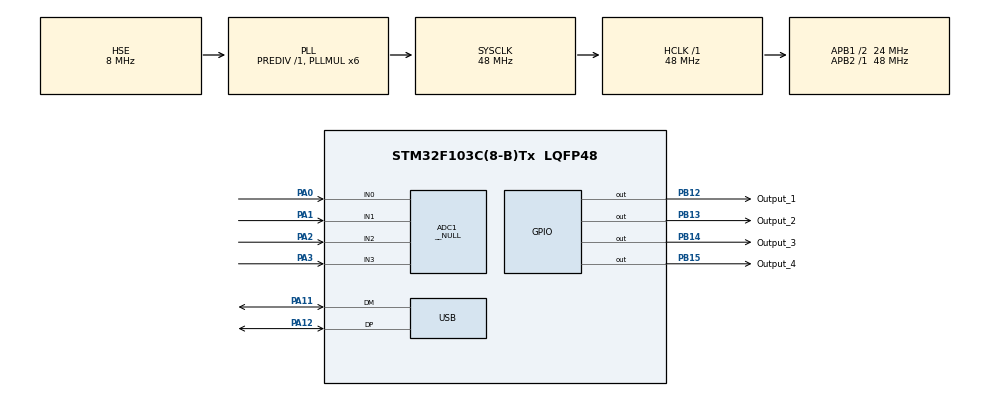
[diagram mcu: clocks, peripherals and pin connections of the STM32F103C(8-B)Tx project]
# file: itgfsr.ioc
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ADC1.Channel-1\#ChannelRegularConversion=ADC_CHANNEL_0
ADC1.Channel-2\#ChannelRegularConversion=ADC_CHANNEL_1
ADC1.Channel-3\#ChannelRegularConversion=ADC_CHANNEL_2
ADC1.Channel-4\#ChannelRegularConversion=ADC_CHANNEL_3
ADC1.DataAlign=ADC_DATAALIGN_RIGHT
ADC1.Mode=__NULL
ADC1.NbrOfConversion=4
ADC1.NbrOfConversionFlag=1
ADC1.Rank-1\#ChannelRegularConversion=1
ADC1.Rank-2\#ChannelRegularConversion=2
ADC1.Rank-3\#ChannelRegularConversion=3
ADC1.Rank-4\#ChannelRegularConversion=4
ADC1.SamplingTime-1\#ChannelRegularConversion=ADC_SAMPLETIME_71CYCLES_5
ADC1.SamplingTime-2\#ChannelRegularConversion=ADC_SAMPLETIME_71CYCLES_5
ADC1.SamplingTime-3\#ChannelRegularConversion=ADC_SAMPLETIME_71CYCLES_5
ADC1.SamplingTime-4\#ChannelRegularConversion=ADC_SAMPLETIME_71CYCLES_5
ADC1.master=1
Dma.ADC1.0.Direction=DMA_PERIPH_TO_MEMORY
Dma.ADC1.0.Instance=DMA1_Channel1
Dma.ADC1.0.MemDataAlignment=DMA_MDATAALIGN_HALFWORD
Dma.ADC1.0.MemInc=DMA_MINC_ENABLE
Dma.ADC1.0.Mode=DMA_NORMAL
Dma.ADC1.0.PeriphDataAlignment=DMA_PDATAALIGN_HALFWORD
Dma.ADC1.0.PeriphInc=DMA_PINC_DISABLE
Dma.ADC1.0.Priority=DMA_PRIORITY_LOW
Dma.Request0=ADC1
Mcu.Family=STM32F1
Mcu.Name=STM32F103C(8-B)Tx
Mcu.Package=LQFP48
NVIC.ADC1_2_IRQn=true\:0\:0\:false\:false\:true\:true\:true\:true
NVIC.DMA1_Channel1_IRQn=true\:0\:0\:false\:false\:true\:false\:true\:true
NVIC.PriorityGroup=NVIC_PRIORITYGROUP_4
NVIC.TIM2_IRQn=true\:0\:0\:false\:false\:true\:true\:true\:true
NVIC.USB_HP_CAN1_TX_IRQn=true\:0\:0\:false\:false\:true\:true\:true\:true
NVIC.USB_LP_CAN1_RX0_IRQn=true\:0\:0\:false\:false\:true\:true\:true\:true
PA0-WKUP.Signal=ADCx_IN0
PA1.Signal=ADCx_IN1
PA11.Mode=Device
PA11.Signal=USB_DM
PA12.Mode=Device
PA12.Signal=USB_DP
PA2.Signal=ADCx_IN2
PA3.Signal=ADCx_IN3
PB12.GPIO_Label=Output_1
PB12.GPIO_PuPd=GPIO_NOPULL
PB12.Signal=GPIO_Output
PB13.GPIO_Label=Output_2
PB13.GPIO_PuPd=GPIO_NOPULL
PB13.Signal=GPIO_Output
PB14.GPIO_Label=Output_3
PB14.GPIO_PuPd=GPIO_NOPULL
PB14.Signal=GPIO_Output
PB15.GPIO_Label=Output_4
PB15.GPIO_PuPd=GPIO_NOPULL
PB15.Signal=GPIO_Output
PD0-OSC_IN.Mode=HSE-External-Oscillator
PD0-OSC_IN.Signal=RCC_OSC_IN
PD1-OSC_OUT.Mode=HSE-External-Oscillator
PD1-OSC_OUT.Signal=RCC_OSC_OUT
ProjectManager.HeapSize=0x100
ProjectManager.StackSize=0x400
ProjectManager.TargetToolchain=STM32CubeIDE
RCC.ADCPresc=RCC_ADCPCLK2_DIV4
RCC.AHBFreq_Value=48000000
RCC.APB1CLKDivider=RCC_HCLK_DIV2
RCC.APB1Freq_Value=24000000
RCC.APB1TimFreq_Value=48000000
RCC.APB2Freq_Value=48000000
RCC.APB2TimFreq_Value=48000000
RCC.HCLKFreq_Value=48000000
RCC.PLLMUL=RCC_PLL_MUL6
RCC.SYSCLKFreq_VALUE=48000000
RCC.SYSCLKSource=RCC_SYSCLKSOURCE_PLLCLK
RCC.USBFreq_Value=48000000
SH.ADCx_IN0.0=ADC1_IN0,IN0
SH.ADCx_IN1.0=ADC1_IN1,IN1
SH.ADCx_IN2.0=ADC1_IN2,IN2
SH.ADCx_IN3.0=ADC1_IN3,IN3
TIM2.Period=100-1
TIM2.Prescaler=800-1
VP_SYS_VS_ND.Mode=No_Debug
VP_TIM2_VS_ClockSourceINT.Mode=Internal
board=custom

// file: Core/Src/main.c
/* USER CODE BEGIN Header */
/**
 ******************************************************************************
 * @file           : main.c
 * @brief          : Main program body
 ******************************************************************************
 * @attention
 *
 * Copyright (c) 2022 STMicroelectronics.
 * All rights reserved.
 *
 * This software is licensed under terms that can be found in the LICENSE file
 * in the root directory of this software component.
 * If no LICENSE file comes with this software, it is provided AS-IS.
 *
 ******************************************************************************
 */
/* USER CODE END Header */
#include "main.h"
#include "adc.h"
#include "dma.h"
#include "tim.h"
#include "usb.h"
#include "gpio.h"

/* USER CODE BEGIN Includes */
#include <string.h>
#include <stdio.h>
// #include "usbd_def.h"
#include "usb_device.h"
#include "usbd_hid_keyboard.h"
#include "usbd_cdc_acm_if.h"
#include "usb_hid_keys.h"
// #include "usbd_composite.h"
#include <eeprom.h>
/* USER CODE END Includes */

/* USER CODE BEGIN PV */
#define DEBUG_SENSORS 0
#define RELEASE_DEBOUNCE_PERCENTAGE 96

uint16_t VirtAddVarTab[NB_OF_VAR];
uint16_t VarIndex, VarDataTmp = 0;

extern USBD_HandleTypeDef hUsbDevice;

uint8_t volatile keyBoardHIDsub[11] = {0x00, 0x00, 0x00, 0x00, 0x00, 0x00, 0x00, 0x00, 0x00, 0x00, 0x00};

uint16_t adc_results_1[4] = {0, 0, 0, 0};
uint16_t adc_results_2[4] = {0, 0, 0, 0};
uint16_t adc_results_3[4] = {0, 0, 0, 0};
uint16_t adc_results_4[4] = {0, 0, 0, 0};

uint16_t adc_results_1_buf1[4] = {0, 0, 0, 0};
uint16_t adc_results_2_buf1[4] = {0, 0, 0, 0};
uint16_t adc_results_3_buf1[4] = {0, 0, 0, 0};
uint16_t adc_results_4_buf1[4] = {0, 0, 0, 0};

uint16_t adc_results_1_buf2[4] = {0, 0, 0, 0};
uint16_t adc_results_2_buf2[4] = {0, 0, 0, 0};
uint16_t adc_results_3_buf2[4] = {0, 0, 0, 0};
uint16_t adc_results_4_buf2[4] = {0, 0, 0, 0};

uint16_t adc_results_1_buf3[4] = {0, 0, 0, 0};
uint16_t adc_results_2_buf3[4] = {0, 0, 0, 0};
uint16_t adc_results_3_buf3[4] = {0, 0, 0, 0};
uint16_t adc_results_4_buf3[4] = {0, 0, 0, 0};

uint8_t volatile ground_id = 1;

uint16_t sensor_treshholds[16] = {
	750, 750, 750, 750,
	750, 750, 750, 750,
	750, 750, 750, 750,
	750, 750, 750, 750};

uint16_t sensor_release_treshholds[16] = {
	250, 250, 250, 250,
	250, 250, 250, 250,
	250, 250, 250, 250,
	250, 250, 250, 250};

uint16_t sensor_offsets[16] = {
	4000, 4000, 4000, 4000,
	4000, 4000, 4000, 4000,
	4000, 4000, 4000, 4000,
	4000, 4000, 4000, 4000};

// uint8_t sensors_binding[40]={
//		0,0,0,0,1,1,1,1,2,2,
//		2,2,3,3,3,3,4,4,4,4,
//		5,5,5,5,6,6,6,6,7,7,
//		7,7,8,8,8,8,3,3,5,5
// };

// P1

// uint8_t key_map[9] = {
//	KEY_Q, KEY_W, KEY_E,
//	KEY_A, KEY_S, KEY_D,
//	KEY_Z, KEY_X, KEY_C};
//
// uint8_t sensors_binding[40] = {
//	5,5, 7, 4, 8, 1, 2, 6, 0, 3,
//	5,5, 7, 4, 8, 1, 2, 6, 0, 3,
//	3,5, 7, 4, 8, 1, 2, 6, 0, 3,
//	3,5, 7, 4, 8, 1, 2, 6, 0, 3};

// P2

// Actually used are:
// 1, 3, 5, 7

uint8_t key_map[9] = {
	KEY_R, KEY_T, KEY_Y,
	KEY_F, KEY_G, KEY_H,
	KEY_V, KEY_B, KEY_N};

uint8_t sensors_binding[16] = {
	3, 7, 5, 1,
	3, 7, 5, 1,
	3, 7, 5, 1,
	3, 7, 5, 1};

uint16_t raw;
char msg[10];
char msg2[255];
uint16_t s;
char *token;
uint16_t num1, num2, sensor_id;

uint8_t rx_buff[255];
uint8_t volatile rx_buff_flag = 0;
uint16_t volatile debug_var = 0;

uint8_t key_states[9] = {0, 0, 0, 0, 0, 0, 0, 0, 0};
uint8_t last_key_states[9] = {0, 0, 0, 0, 0, 0, 0, 0, 0};

static GPIO_InitTypeDef Output_1_in;
static GPIO_InitTypeDef Output_1_out;
static GPIO_InitTypeDef Output_2_in;
static GPIO_InitTypeDef Output_2_out;
static GPIO_InitTypeDef Output_3_in;
static GPIO_InitTypeDef Output_3_out;
static GPIO_InitTypeDef Output_4_in;
static GPIO_InitTypeDef Output_4_out;

/* USER CODE END PV */

void SystemClock_Config(void);

/* USER CODE BEGIN 0 */
void HAL_ADC_ConvCpltCallback(ADC_HandleTypeDef *hadc)
{
	// CDC_Transmit(0, HAL_GetTick() , sizeof(uint32_t));
	//	char msg[32];
	//	uint32_t tick = HAL_GetTick();
	//	int len = sprintf(msg, "%lu\r\n", tick); // Use %lu for uint32_t
	//
	//	CDC_Transmit(0, (uint8_t *)msg, len);

	//	ground_id=69;
	//	debug_var++;
	HAL_ADC_Stop_DMA(&hadc1);
	switch (ground_id)
	{
	case 1:
		HAL_GPIO_Init(Output_1_GPIO_Port, &Output_1_in);
		HAL_GPIO_Init(Output_2_GPIO_Port, &Output_2_out);
		ground_id = 2;
		for (int i = 0; i < 4; ++i)
		{
			adc_results_1_buf3[i] = adc_results_1_buf2[i];
			adc_results_1_buf2[i] = adc_results_1_buf1[i];
			adc_results_1_buf1[i] = adc_results_1[i];
		}
		HAL_ADC_Start_DMA(&hadc1, (uint32_t *)&adc_results_2, 4);
		break;
	case 2:
		HAL_GPIO_Init(Output_2_GPIO_Port, &Output_2_in);
		HAL_GPIO_Init(Output_3_GPIO_Port, &Output_3_out);
		ground_id = 3;
		for (int i = 0; i < 4; ++i)
		{
			adc_results_2_buf3[i] = adc_results_2_buf2[i];
			adc_results_2_buf2[i] = adc_results_2_buf1[i];
			adc_results_2_buf1[i] = adc_results_2[i];
		}
		HAL_ADC_Start_DMA(&hadc1, (uint32_t *)&adc_results_3, 4);
		break;
	case 3:
		HAL_GPIO_Init(Output_3_GPIO_Port, &Output_3_in);
		HAL_GPIO_Init(Output_4_GPIO_Port, &Output_4_out);
		ground_id = 4;
		for (int i = 0; i < 4; ++i)
		{
			adc_results_3_buf3[i] = adc_results_3_buf2[i];
			adc_results_3_buf2[i] = adc_results_3_buf1[i];
			adc_results_3_buf1[i] = adc_results_3[i];
		}
		HAL_ADC_Start_DMA(&hadc1, (uint32_t *)&adc_results_4, 4);
		break;
	case 4:
		HAL_GPIO_Init(Output_4_GPIO_Port, &Output_4_in);
		HAL_GPIO_Init(Output_1_GPIO_Port, &Output_1_out);
		ground_id = 1;
		for (int i = 0; i < 4; ++i)
		{
			adc_results_4_buf3[i] = adc_results_4_buf2[i];
			adc_results_4_buf2[i] = adc_results_4_buf1[i];
			adc_results_4_buf1[i] = adc_results_4[i];
		}
		HAL_ADC_Start_DMA(&hadc1, (uint32_t *)&adc_results_1, 4);
		break;
	}
}

uint16_t get_sensor_avg(uint8_t group, uint8_t i)
{
	switch (group)
	{
	case 0:
		return (adc_results_1_buf1[i] + adc_results_1_buf2[i] + adc_results_1_buf3[i]) / 3;
	case 1:
		return (adc_results_2_buf1[i] + adc_results_2_buf2[i] + adc_results_2_buf3[i]) / 3;
	case 2:
		return (adc_results_3_buf1[i] + adc_results_3_buf2[i] + adc_results_3_buf3[i]) / 3;
	case 3:
		return (adc_results_4_buf1[i] + adc_results_4_buf2[i] + adc_results_4_buf3[i]) / 3;
	default:
		return 0;
	}
}

uint16_t map_sensor_value(uint16_t offset, uint16_t avg)
{
	if (avg >= offset)
	{
		return 0;
	}
	else
	{
		uint16_t diff = offset - avg;
		// Use uint32_t to prevent overflow in multiplication
		return (uint16_t)(((uint32_t)diff * 1024) / offset);
	}
}

void HAL_TIM_PeriodElapsedCallback(TIM_HandleTypeDef *htim)
{
	//	if(DEBUG_SENSORS==1){
	//		s = 0;
	//		s = sprintf(msg2, " ");
	//
	//		for (int i = 0; i < 10; ++i)
	//		{
	//			for (int j = 0; j < 4; ++j)
	//			{
	//				switch (j)
	//				{
	//				case 0:
	//					s += sprintf(msg2 + s, " %d",  adc_results_1[i]);
	//					break;
	//				case 1:
	//					s += sprintf(msg2 + s, " %d", adc_results_2[i]);
	//					break;
	//				case 2:
	//					s += sprintf(msg2 + s, " %d", adc_results_3[i]);
	//					break;
	//				case 3:
	//					s += sprintf(msg2 + s, " %d", adc_results_4[i]);
	//					break;
	//				}
	//			}
	//			s += sprintf(msg2 + s, "\n");
	//		}
	//
	//		s += sprintf(msg2 + s, "\n");
	//
	//		CDC_Transmit(0, msg2, s);
	//	}
	if (htim->Instance == TIM2)
	{
		for (int i = 0; i < 9; i++)
		{
			last_key_states[i] = key_states[i];
			key_states[i] = 0;
		}

		for (int i = 0; i < 4; ++i)
		{
			for (int j = 0; j < 4; ++j)
			{
				uint16_t offset = sensor_offsets[i + j * 4];
				uint16_t avg = get_sensor_avg(j, i);
				uint16_t current_value = map_sensor_value(offset, avg);
				if (sensor_treshholds[i + j * 4] < current_value)
				{
					key_states[sensors_binding[i + j * 4]] = 1;
				}
				else if (last_key_states[sensors_binding[i + j * 4]] == 1 && sensor_release_treshholds[i + j * 4] < current_value)
				{
					key_states[sensors_binding[i + j * 4]] = 1;
				}
			}
		}

		//		for (int i = 0; i < 40; ++i)
		//		{
		//			key_states[sensors_binding[i]] = 0;
		//			switch (i % 4)
		//			{
		//			case 0:
		//				if (sensor_treshholds[i] > ((sensor_offsets[i] * 1024) / adc_results_1[i % 4]) - 1024)
		//				{
		//					key_states[sensors_binding[i]] = 1;
		//				}
		//				break;
		//			case 1:
		//				if (sensor_treshholds[i] > ((sensor_offsets[i] * 1024) / adc_results_2[i % 4]) - 1024)
		//				{
		//					key_states[sensors_binding[i]] = 1;
		//				}
		//				break;
		//			case 2:
		//				if (sensor_treshholds[i] > ((sensor_offsets[i] * 1024) / adc_results_3[i % 4]) - 1024)
		//				{
		//					key_states[sensors_binding[i]] = 1;
		//				}
		//				break;
		//			case 3:
		//				if (sensor_treshholds[i] > ((sensor_offsets[i] * 1024) / adc_results_4[i % 4]) - 1024)
		//				{
		//					key_states[sensors_binding[i]] = 1;
		//				}
		//				break;
		//			}
		//		}

		for (int i = 0; i < 9; ++i)
		{
			if (key_states[i] == 1)
			{
				keyBoardHIDsub[i + 2] = key_map[i];
			}
			else
			{
				keyBoardHIDsub[i + 2] = 0x00;
			}
		}
		//		keyBoardHIDsub[3] = key_map[2];
		//		s = 0;
		//		s = sprintf(msg2, "t");
		//
		//		for (int i = 0; i < 9; ++i)
		//		{
		//
		//				s += sprintf(msg2 + s, " %d", key_states[i]);
		//
		//		}
		//		s += sprintf(msg2 + s, "\n");
		//
		//		CDC_Transmit(0, msg2, s);

		USBD_HID_Keybaord_SendReport(&hUsbDevice, (uint8_t *)&keyBoardHIDsub, sizeof(keyBoardHIDsub));
	}
}
/* USER CODE END 0 */

int main(void)
{
	/* USER CODE BEGIN 1 */

	//	int volatile jajco = 1;
	/* USER CODE END 1 */

	/* MCU Configuration--------------------------------------------------------*/

	/* Reset of all peripherals, Initializes the Flash interface and the Systick. */
	HAL_Init();

	/* Configure the system clock */
	SystemClock_Config();

	/* Initialize all configured peripherals */
	MX_GPIO_Init();
	MX_DMA_Init();
	MX_ADC1_Init();
	MX_USB_PCD_Init();
	MX_TIM2_Init();
	/* USER CODE BEGIN 2 */

	Output_1_in.Pin = Output_1_Pin;
	Output_1_in.Mode = GPIO_MODE_INPUT;
	Output_1_in.Pull = GPIO_NOPULL;
	Output_1_in.Speed = GPIO_SPEED_FREQ_LOW;
	Output_1_out.Pin = Output_1_Pin;
	Output_1_out.Mode = GPIO_MODE_OUTPUT_PP;
	Output_1_out.Pull = GPIO_NOPULL;
	Output_1_out.Speed = GPIO_SPEED_FREQ_LOW;
	Output_2_in.Pin = Output_2_Pin;
	Output_2_in.Mode = GPIO_MODE_INPUT;
	Output_2_in.Pull = GPIO_NOPULL;
	Output_2_in.Speed = GPIO_SPEED_FREQ_LOW;
	Output_2_out.Pin = Output_2_Pin;
	Output_2_out.Mode = GPIO_MODE_OUTPUT_PP;
	Output_2_out.Pull = GPIO_NOPULL;
	Output_2_out.Speed = GPIO_SPEED_FREQ_LOW;
	Output_3_in.Pin = Output_3_Pin;
	Output_3_in.Mode = GPIO_MODE_INPUT;
	Output_3_in.Pull = GPIO_NOPULL;
	Output_3_in.Speed = GPIO_SPEED_FREQ_LOW;
	Output_3_out.Pin = Output_3_Pin;
	Output_3_out.Mode = GPIO_MODE_OUTPUT_PP;
	Output_3_out.Pull = GPIO_NOPULL;
	Output_3_out.Speed = GPIO_SPEED_FREQ_LOW;
	Output_4_in.Pin = Output_4_Pin;
	Output_4_in.Mode = GPIO_MODE_INPUT;
	Output_4_in.Pull = GPIO_NOPULL;
	Output_4_in.Speed = GPIO_SPEED_FREQ_LOW;
	Output_4_out.Pin = Output_4_Pin;
	Output_4_out.Mode = GPIO_MODE_OUTPUT_PP;
	Output_4_out.Pull = GPIO_NOPULL;
	Output_4_out.Speed = GPIO_SPEED_FREQ_LOW;

	MX_USB_DEVICE_Init();
	HAL_GPIO_Init(GPIOB, &Output_1_out);
	HAL_GPIO_Init(GPIOB, &Output_2_out);
	HAL_GPIO_Init(GPIOB, &Output_3_out);
	HAL_GPIO_Init(GPIOB, &Output_4_out);
	//	HAL_Delay(1000);
	HAL_ADC_Start_DMA(&hadc1, (uint32_t *)&adc_results_1, 4);
	HAL_TIM_Base_Start_IT(&htim2);
	//	HAL_ADCEx_Calibration_Start(&hadc1);

	HAL_FLASH_Unlock();

	/* EEPROM Init */
	if (EE_Init() != HAL_OK)
	{
		Error_Handler();
	}

	for (VarIndex = 1; VarIndex <= NB_OF_VAR; VarIndex++)
	{
		VirtAddVarTab[VarIndex - 1] = VarIndex;
	}

	for (VarIndex = 0; VarIndex < NB_OF_VAR; VarIndex++)
	{
		if ((EE_ReadVariable(VirtAddVarTab[VarIndex], &sensor_treshholds[VarIndex])) == 1)
		{

			if ((EE_WriteVariable(VirtAddVarTab[VarIndex], sensor_treshholds[VarIndex])) != HAL_OK)
			{
				Error_Handler();
			}
		}
		sensor_release_treshholds[VarIndex] = (uint16_t)((uint32_t)sensor_treshholds[VarIndex] * RELEASE_DEBOUNCE_PERCENTAGE / 100);
	}
	/* USER CODE END 2 */

	/* Infinite loop */
	/* USER CODE BEGIN WHILE */
	while (1)
	{

		//		s = 0;
		//		s += sprintf(msg2 + s, " %d", rx_buff_flag);
		//		CDC_Transmit(0, (uint8_t *)msg2, s);

		if (rx_buff_flag == 1)
		{
			rx_buff_flag = 0;
			//		CDC_Receive(0, &rx_buff, 255);

			switch (rx_buff[0])
			{
			// case 'o':
			// case 'O':
			// 	for (int i = 0; i < 4; ++i)
			// 	{
			// 		for (int j = 0; j < 4; ++j)
			// 		{
			// 			switch (j)
			// 			{
			// 			case 0:
			// 				sensor_offsets[i + j * 4] = adc_results_1[i];
			// 				break;
			// 			case 1:
			// 				sensor_offsets[i + j * 4] = adc_results_2[i];
			// 				break;
			// 			case 2:
			// 				sensor_offsets[i + j * 4] = adc_results_3[i];
			// 				break;
			// 			case 3:
			// 				sensor_offsets[i + j * 4] = adc_results_4[i];
			// 				break;
			// 			}
			// 		}
			// 	}
			// 	break;
			case 'v':
			case 'V':
				s = 0;
				s = sprintf(msg2, "v");

				for (int i = 0; i < 4; ++i)
				{
					for (int j = 0; j < 4; ++j)
					{

						uint16_t offset = sensor_offsets[i + j * 4];
						uint16_t avg = get_sensor_avg(j, i);
						s += sprintf(msg2 + s, " %d", map_sensor_value(offset, avg));
					}
				}

				s += sprintf(msg2 + s, "\n");

				CDC_Transmit(0, (uint8_t *)msg2, s);
				break;
			case 't':
			case 'T':
				s = 0;
				s = sprintf(msg2, "t");

				for (int i = 0; i < 4; ++i)
				{
					for (int j = 0; j < 4; ++j)
					{
						s += sprintf(msg2 + s, " %d", sensor_treshholds[i + j * 4]);
					}
				}
				s += sprintf(msg2 + s, "\n");

				CDC_Transmit(0, (uint8_t *)msg2, s);
				break;

			case '0' ... '9': // Case ranges are non-standard but work in gcc

				sscanf((char *)rx_buff, "%hu %hu", &num1, &num2);
				sprintf(msg, "%d", num1);
				CDC_Transmit(0, (uint8_t *)msg, sizeof(msg));

				if (num1 < 16 && num2 > 0 && num2 < 1023)
				{
					//				sensor_treshholds[(num1*10)%40 + num1/4] = num2;
					sensor_id = num1 % 4 * 4 + num1 / 4;
					sensor_treshholds[sensor_id] = num2;
					sensor_release_treshholds[VarIndex] = (uint16_t)((uint32_t)num2 * RELEASE_DEBOUNCE_PERCENTAGE / 100);
					s = 0;
					s = sprintf(msg2, "t");
					//					s += sprintf(msg2 + s, " %d", sensor_id);

					for (int i = 0; i < 4; ++i)
					{
						for (int j = 0; j < 4; ++j)
						{
							s += sprintf(msg2 + s, " %d", sensor_treshholds[i + j * 4]);
						}
					}
					s += sprintf(msg2 + s, "\n");

					if ((EE_WriteVariable(VirtAddVarTab[sensor_id], sensor_treshholds[sensor_id])) != HAL_OK)
					{
						Error_Handler();
					}

					CDC_Transmit(0, (uint8_t *)msg2, s);
				}

				break;
			default:
				break;
			}
		}
		//		HAL_Delay(1);

		/* USER CODE END WHILE */

	}
}

void SystemClock_Config(void)
{
	RCC_OscInitTypeDef RCC_OscInitStruct = {0};
	RCC_ClkInitTypeDef RCC_ClkInitStruct = {0};
	RCC_PeriphCLKInitTypeDef PeriphClkInit = {0};

	/** Initializes the RCC Oscillators according to the specified parameters
	 * in the RCC_OscInitTypeDef structure.
	 */
	RCC_OscInitStruct.OscillatorType = RCC_OSCILLATORTYPE_HSE;
	RCC_OscInitStruct.HSEState = RCC_HSE_ON;
	RCC_OscInitStruct.HSEPredivValue = RCC_HSE_PREDIV_DIV1;
	RCC_OscInitStruct.HSIState = RCC_HSI_ON;
	RCC_OscInitStruct.PLL.PLLState = RCC_PLL_ON;
	RCC_OscInitStruct.PLL.PLLSource = RCC_PLLSOURCE_HSE;
	RCC_OscInitStruct.PLL.PLLMUL = RCC_PLL_MUL6;
	if (HAL_RCC_OscConfig(&RCC_OscInitStruct) != HAL_OK)
	{
		Error_Handler();
	}

	/** Initializes the CPU, AHB and APB buses clocks
	 */
	RCC_ClkInitStruct.ClockType = RCC_CLOCKTYPE_HCLK | RCC_CLOCKTYPE_SYSCLK | RCC_CLOCKTYPE_PCLK1 | RCC_CLOCKTYPE_PCLK2;
	RCC_ClkInitStruct.SYSCLKSource = RCC_SYSCLKSOURCE_PLLCLK;
	RCC_ClkInitStruct.AHBCLKDivider = RCC_SYSCLK_DIV1;
	RCC_ClkInitStruct.APB1CLKDivider = RCC_HCLK_DIV2;
	RCC_ClkInitStruct.APB2CLKDivider = RCC_HCLK_DIV1;

	if (HAL_RCC_ClockConfig(&RCC_ClkInitStruct, FLASH_LATENCY_1) != HAL_OK)
	{
		Error_Handler();
	}
	PeriphClkInit.PeriphClockSelection = RCC_PERIPHCLK_ADC | RCC_PERIPHCLK_USB;
	PeriphClkInit.AdcClockSelection = RCC_ADCPCLK2_DIV4;
	PeriphClkInit.UsbClockSelection = RCC_USBCLKSOURCE_PLL;
	if (HAL_RCCEx_PeriphCLKConfig(&PeriphClkInit) != HAL_OK)
	{
		Error_Handler();
	}
}

void Error_Handler(void)
{
	__disable_irq();
	while (1)
	{
	}
}
